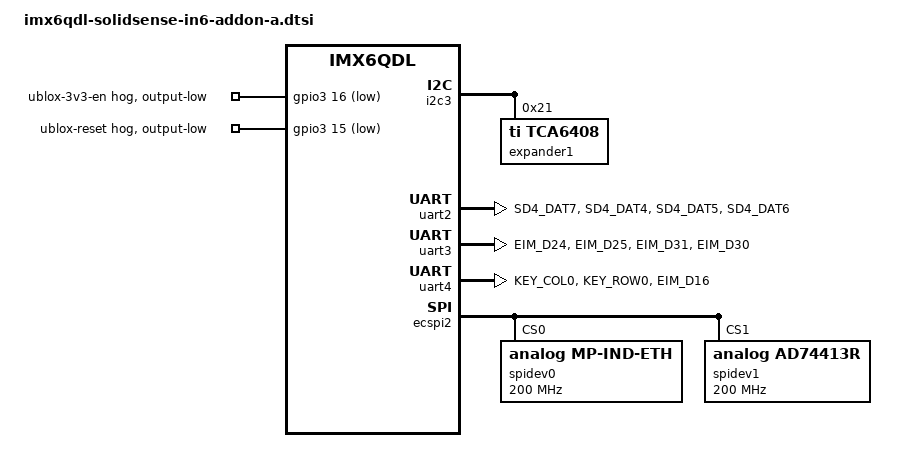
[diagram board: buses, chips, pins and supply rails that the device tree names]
/*
 * Device Tree file for SolidRun HummingBoard2
 * Copyright (C) 2015 Rabeeh Khoury <rabeeh@solid-run.com>
 * Based on work by Russell King
 *
 * This file is dual-licensed: you can use it either under the terms
 * of the GPL or the X11 license, at your option. Note that this dual
 * licensing only applies to this file, and not this project as a
 * whole.
 *
 *  a) This file is free software; you can redistribute it and/or
 *     modify it under the terms of the GNU General Public License as
 *     published by the Free Software Foundation; either version 2 of the
 *     License.
 *
 *     This file is distributed in the hope that it will be useful
 *     but WITHOUT ANY WARRANTY; without even the implied warranty of
 *     MERCHANTABILITY or FITNESS FOR A PARTICULAR PURPOSE.  See the
 *     GNU General Public License for more details.
 *
 * Or, alternatively
 *
 *  b) Permission is hereby granted, free of charge, to any person
 *     obtaining a copy of this software and associated documentation
 *     files (the "Software"), to deal in the Software without
 *     restriction, including without limitation the rights to use
 *     copy, modify, merge, publish, distribute, sublicense, and/or
 *     sell copies of the Software, and to permit persons to whom the
 *     Software is furnished to do so, subject to the following
 *     conditions:
 *
 *     The above copyright notice and this permission notice shall be
 *     included in all copies or substantial portions of the Software.
 *
 *     THE SOFTWARE IS PROVIDED , WITHOUT WARRANTY OF ANY KIND
 *     EXPRESS OR IMPLIED, INCLUDING BUT NOT LIMITED TO THE WARRANTIES
 *     OF MERCHANTABILITY, FITNESS FOR A PARTICULAR PURPOSE AND
 *     NONINFRINGEMENT. IN NO EVENT SHALL THE AUTHORS OR COPYRIGHT
 *     HOLDERS BE LIABLE FOR ANY CLAIM, DAMAGES OR OTHER LIABILITY
 *     WHETHER IN AN ACTION OF CONTRACT, TORT OR OTHERWISE, ARISING
 *     FROM, OUT OF OR IN CONNECTION WITH THE SOFTWARE OR THE USE OR
 *     OTHER DEALINGS IN THE SOFTWARE.
 */
/*
&gpio1 {
	rs485a_invr {
		gpio-hog;
		gpios = <0 GPIO_ACTIVE_LOW>;
		output-low;
		line-name "rs485a-invr";
	};

	rs485a_invd {
		gpio-hog;
		gpios = <1 GPIO_ACTIVE_LOW>;
		output-low;
		line-name "rs485a-invd";
	};

	rs485a_vsel {
		gpio-hog;
		gpios = <3 GPIO_ACTIVE_LOW>;
		line-name "rs485a-vsel";
	};

	rs485b_invr {
		gpio-hog;
		gpios = <7 GPIO_ACTIVE_LOW>;
		output-low;
		line-name "rs485b-invr";
	};
};

&gpio2 {
	rs485b_invd {
		gpio-hog;
		gpios = <8 GPIO_ACTIVE_LOW>;
		output-low;
		line-name "rs485b-invd";
	};

	rs485b_vsel {
		gpio-hog;
		gpios = <9 GPIO_ACTIVE_LOW>;
		output-low;
		line-name "rs486b-vsel";
	};
};
*/

&gpio3 {
	ublox_3v3_en {
		gpio-hog;
		gpios = <16 GPIO_ACTIVE_LOW>;
		output-low;
		line-name = "ublox-3v3-en";
	};

	ublox_reset {
		gpio-hog;
		gpios = <15 GPIO_ACTIVE_LOW>;
		output-low;
		line-name = "ublox-reset";
	};
};

&i2c3 {
	expander1: gpio-expander@21 {
		compatible = "ti,tca6408";
		gpio-controller;
		#gpio-cells = <2>;
		reg = <0x21>;
	};
};

&iomuxc {
	solidsense {
		pinctrl_solidsense_uart2: solidsense-uart2 {
			fsl,pins = <
				MX6QDL_PAD_SD4_DAT7__UART2_TX_DATA 0x1b0b0
				MX6QDL_PAD_SD4_DAT4__UART2_RX_DATA 0x1b0b0
			>;
		};

		pinctrl_solidsense_uart2_rtscts: solidsense-uart2-rtscts {
			fsl,pins = <
				MX6QDL_PAD_SD4_DAT5__UART2_RTS_B 0x1b0b0
				MX6QDL_PAD_SD4_DAT6__UART2_CTS_B 0x1b0b0
			>;
		};

		pinctrl_solidsense_uart3: solidsense-uart3 {
			fsl,pins = <
				MX6QDL_PAD_EIM_D24__UART3_TX_DATA 0x1b0b0
				MX6QDL_PAD_EIM_D25__UART3_RX_DATA 0x1b0b0
			>;
		};

		pinctrl_solidsense_uart3_rtscts: solidsense-uart3-rtscts {
			fsl,pins = <
				MX6QDL_PAD_EIM_D31__UART3_RTS_B 0x1b0b0
				MX6QDL_PAD_EIM_D30__UART3_CTS_B 0x1b0b0
			>;
		};

		pinctrl_solidsense_uart4: solidsense-uart4 {
			fsl,pins = <
				MX6QDL_PAD_KEY_COL0__UART4_TX_DATA 0x1b0b0
				MX6QDL_PAD_KEY_ROW0__UART4_RX_DATA 0x1b0b0
			>;
		};

		pinctrl_solidsense_uart4_gpio: solidsense-uart4-gpio {
			fsl,pins = <
				MX6QDL_PAD_EIM_D27__GPIO3_IO27 0x400130b1  /* Ublox addon SWDCLK */
				MX6QDL_PAD_EIM_D26__GPIO3_IO26 0x400130b1  /* Ublox addon SWDIO */
				MX6QDL_PAD_EIM_D23__GPIO3_IO23 0x400130b1  /* Ublox addon UART_WAKE */
			>;
		};

		pinctrl_solidsense_ublox_reset: solidsense-ublox-reset {
			fsl,pins = <
				MX6QDL_PAD_EIM_DA15__GPIO3_IO15 0x400130b1 /* Ublox addon RESET */
			>;
		};

		pinctrl_solidsense_ublox_power_enable: solidsense-ublox-power-enable {
			fsl,pins = <
				MX6QDL_PAD_EIM_D16__GPIO3_IO16 0x400130b1  /* Ublox addon PWR_EN */
			>;
		};

		pinctrl_solidsense_flexcan1: solidsense-flexcan1 {
			fsl,pins = <
				MX6QDL_PAD_KEY_COL2__FLEXCAN1_TX 0x1b0b0
				MX6QDL_PAD_KEY_ROW2__FLEXCAN1_RX 0x1b0b0
			>;
		};
	};
};

&uart2 {
	pinctrl-names = "default";
	pinctrl-0 = <&pinctrl_solidsense_uart2 &pinctrl_solidsense_uart2_rtscts>;
/*
	uart-has-rtscts;
	fsl,dce;
	linux,rs485-enabled-at-boot-time;
	rs485-rts-delay = <0 200>;
*/
	status = "okay";
};

&uart3 {
	pinctrl-names = "default";
	pinctrl-0 = <&pinctrl_solidsense_uart3 &pinctrl_solidsense_uart3_rtscts>;
/*
	uart-has-rtscts;
	fsl,dce;
	linux,rs485-enabled-at-boot-time;
	rs485-rts-delay = <0 200>;
*/
	status = "okay";
};

&uart4 {
	pinctrl-names = "default";
	pinctrl-0 = <&pinctrl_solidsense_uart4 &pinctrl_solidsense_ublox_power_enable>;
	status = "okay";
	enable-gpios = <&gpio3 16 GPIO_ACTIVE_HIGH &gpio3 15 GPIO_ACTIVE_HIGH>;

	bluetooth {
		status = "disabled";
	};
};

&ecspi2 {
	num-cs = <2>;
	status = "okay";

	spidev0: spi@0 {
		compatible = "analog,mp-ind-eth";
		reg = <0>;
		spi-max-frequency = <200000000>;
	};

	spidev1: spi@1 {
		compatible = "analog,ad74413r";
		reg = <1>;
		spi-max-frequency = <200000000>;
	};
};
